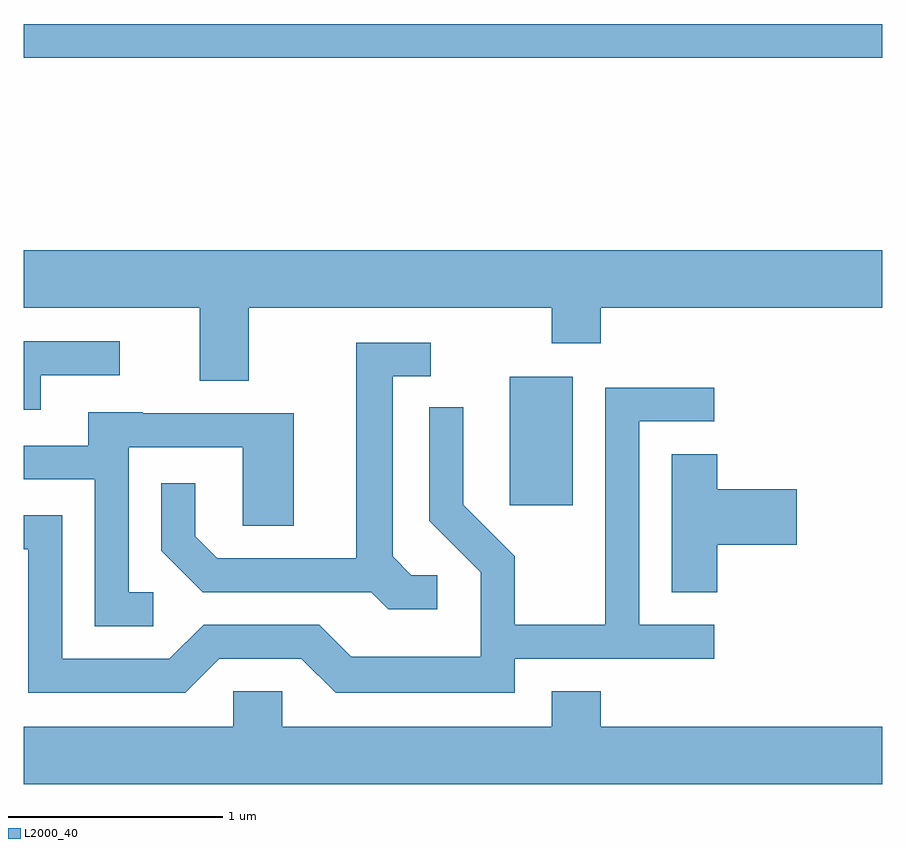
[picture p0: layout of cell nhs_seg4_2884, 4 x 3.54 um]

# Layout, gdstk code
import gdstk
lib = gdstk.Library(unit=1e-6, precision=1e-09)
def R(c, l, rs):  # rectangles x0, y0, x1, y1
    for r in rs: c.add(gdstk.rectangle(r[:2], r[2:], *l))
def P(c, l, *ps):  # polygons
    for p in ps: c.add(gdstk.Polygon(p, *l))
L2000_40 = (2000, 40)

nhs_seg4_2884 = lib.new_cell('nhs_seg4_2884')
R(nhs_seg4_2884, L2000_40, [(271.876,1311.576,272.169,1312.174), (269.611,1313.661,273.611,1313.819)])
P(nhs_seg4_2884, L2000_40, [(270.659,1312.496),(272.071,1312.496),(272.071,1312.331),(272.299,1312.331),(272.299,1312.496),(273.611,1312.496),(273.611,1312.764),(269.611,1312.764),(269.611,1312.496),(270.431,1312.496),(270.431,1312.156),(270.659,1312.156)],
  [(269.689,1312.181),(270.058,1312.181),(270.058,1312.339),(269.611,1312.339),(269.611,1312.021),(269.689,1312.021)],
  [(271.538,1311.249),(271.417,1311.249),(271.329,1311.337),(271.329,1312.176),(271.508,1312.176),(271.508,1312.334),(271.161,1312.334),(271.161,1311.329),(270.512,1311.329),(270.409,1311.432),(270.409,1311.678),(270.251,1311.678),(270.251,1311.364),(270.444,1311.171),(271.229,1311.171),(271.309,1311.091),(271.538,1311.091)],
  [(270.522,1310.861),(270.904,1310.861),(271.064,1310.701),(271.899,1310.701),(271.899,1310.861),(272.828,1310.861),(272.828,1311.019),(272.479,1311.019),(272.479,1311.966),(272.828,1311.966),(272.828,1312.124),(272.321,1312.124),(272.321,1311.019),(271.899,1311.019),(271.899,1311.337),(271.659,1311.577),(271.659,1312.033),(271.501,1312.033),(271.501,1311.504),(271.741,1311.264),(271.741,1310.869),(271.137,1310.869),(270.987,1311.019),(270.449,1311.019),(270.289,1310.859),(269.789,1310.859),(269.789,1311.529),(269.611,1311.529),(269.611,1311.371),(269.631,1311.371),(269.631,1310.701),(270.362,1310.701)],
  [(270.213,1311.169),(270.099,1311.169),(270.099,1311.846),(270.631,1311.846),(270.631,1311.481),(270.869,1311.481),(270.869,1312.004),(270.165,1312.004),(270.165,1312.009),(269.911,1312.009),(269.911,1311.854),(269.611,1311.854),(269.611,1311.696),(269.941,1311.696),(269.941,1311.011),(270.213,1311.011)],
  [(272.844,1311.391),(273.214,1311.391),(273.214,1311.649),(272.844,1311.649),(272.844,1311.814),(272.631,1311.814),(272.631,1311.171),(272.844,1311.171)],
  [(273.611,1310.544),(272.299,1310.544),(272.299,1310.709),(272.071,1310.709),(272.071,1310.544),(270.814,1310.544),(270.814,1310.709),(270.586,1310.709),(270.586,1310.544),(269.611,1310.544),(269.611,1310.276),(273.611,1310.276)])

lib.write_gds('nhs_seg4_2884.gds')
